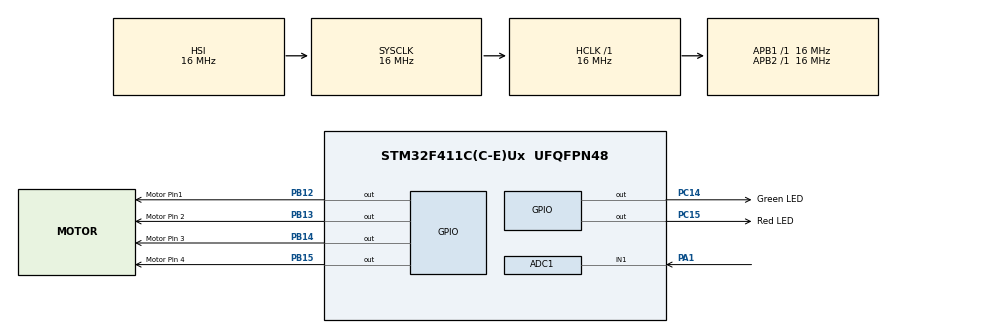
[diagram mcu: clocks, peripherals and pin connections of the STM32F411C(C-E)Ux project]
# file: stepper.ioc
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ADC1.Channel-2\#ChannelRegularConversion=ADC_CHANNEL_1
ADC1.ContinuousConvMode=DISABLE
ADC1.NbrOfConversionFlag=1
ADC1.Rank-2\#ChannelRegularConversion=1
ADC1.SamplingTime-2\#ChannelRegularConversion=ADC_SAMPLETIME_3CYCLES
ADC1.master=1
Mcu.Family=STM32F4
Mcu.Name=STM32F411C(C-E)Ux
Mcu.Package=UFQFPN48
NVIC.ADC_IRQn=true\:0\:0\:false\:false\:true\:true\:true
NVIC.PriorityGroup=NVIC_PRIORITYGROUP_4
NVIC.RCC_IRQn=true\:0\:0\:false\:false\:true\:true\:false
PA1.Signal=ADCx_IN1
PB12.GPIO_Label=Motor Pin1
PB12.GPIO_Speed=GPIO_SPEED_FREQ_HIGH
PB12.Signal=GPIO_Output
PB13.GPIO_Label=Motor Pin 2
PB13.GPIO_Speed=GPIO_SPEED_FREQ_HIGH
PB13.Signal=GPIO_Output
PB14.GPIO_Label=Motor Pin 3
PB14.GPIO_Speed=GPIO_SPEED_FREQ_HIGH
PB14.Signal=GPIO_Output
PB15.GPIO_Label=Motor Pin 4
PB15.GPIO_Speed=GPIO_SPEED_FREQ_HIGH
PB15.Signal=GPIO_Output
PC14-OSC32_IN.GPIO_Label=Green LED
PC14-OSC32_IN.Signal=GPIO_Output
PC15-OSC32_OUT.GPIO_Label=Red LED
PC15-OSC32_OUT.Signal=GPIO_Output
ProjectManager.HeapSize=0x200
ProjectManager.StackSize=0x400
ProjectManager.TargetToolchain=STM32CubeIDE
RCC.48MHZClocksFreq_Value=48000000
RCC.AHBFreq_Value=16000000
RCC.APB1Freq_Value=16000000
RCC.APB1TimFreq_Value=16000000
RCC.APB2Freq_Value=16000000
RCC.APB2TimFreq_Value=16000000
RCC.CortexFreq_Value=16000000
RCC.HCLKFreq_Value=16000000
RCC.HSE_VALUE=26000000
RCC.HSI_VALUE=16000000
RCC.LSE_VALUE=32768
RCC.SYSCLKFreq_VALUE=16000000
RCC.VCOOutputFreq_Value=192000000
SH.ADCx_IN1.0=ADC1_IN1,IN1
board=custom

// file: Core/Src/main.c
/* USER CODE BEGIN Header */
/**
  ******************************************************************************
  * @file           : main.c
  * @brief          : Main program body
  ******************************************************************************
  * @attention
  *
  * <h2><center>&copy; Copyright (c) 2020 STMicroelectronics.
  * All rights reserved.</center></h2>
  *
  * This software component is licensed by ST under BSD 3-Clause license,
  * the "License"; You may not use this file except in compliance with the
  * License. You may obtain a copy of the License at:
  *                        opensource.org/licenses/BSD-3-Clause
  *
  ******************************************************************************
  */
/* USER CODE END Header */
#include "main.h"

ADC_HandleTypeDef hadc1;

/* USER CODE BEGIN PV */
int motorSpeed = 0;
int motorPin1 = GPIO_PIN_12;
int motorPin2 = GPIO_PIN_13;
int motorPin3 = GPIO_PIN_14;
int motorPin4 = GPIO_PIN_15;

int lastPos = 0;
int tempPos;
int delta;

int flag = 0;
/* USER CODE END PV */

void SystemClock_Config(void);
static void MX_GPIO_Init(void);
static void MX_ADC1_Init(void);
/* USER CODE BEGIN PFP */
void clockvise(int steps);
void counterclockvise(int steps);
/* USER CODE END PFP */

int main(void)
{

  /* MCU Configuration--------------------------------------------------------*/

  /* Reset of all peripherals, Initializes the Flash interface and the Systick. */
  HAL_Init();

  /* USER CODE BEGIN Init */
  uint16_t raw;
  /* USER CODE END Init */

  /* Configure the system clock */
  SystemClock_Config();

  /* Initialize all configured peripherals */
  MX_GPIO_Init();
  MX_ADC1_Init();

  /* Infinite loop */
  /* USER CODE BEGIN WHILE */
  while (1)
  {

	  // Get ADC value
	  HAL_ADC_Start(&hadc1);
	  HAL_ADC_PollForConversion(&hadc1, HAL_MAX_DELAY);
	  raw = HAL_ADC_GetValue(&hadc1);
	  tempPos = raw;

	  if(flag){
		  if(raw < 2){
			  HAL_GPIO_WritePin(GPIOC, GPIO_PIN_14, GPIO_PIN_SET);
		  }
		  if(raw > 2 && raw < 4090){
			  HAL_GPIO_WritePin(GPIOC, GPIO_PIN_14, GPIO_PIN_RESET);
			  HAL_GPIO_WritePin(GPIOC, GPIO_PIN_15, GPIO_PIN_RESET);
		  }
		  if(raw > 4090){
			  HAL_GPIO_WritePin(GPIOC, GPIO_PIN_15, GPIO_PIN_SET);
		  }
	  }

	  HAL_Delay(1);

	  delta = tempPos - lastPos;
	  lastPos = tempPos;
	  if(delta > 5 || delta < -5){

		  flag = 1;

		  if(delta > 0){
		  	clockvise(delta);
		  }
		  if(delta < 0){
		  counterclockvise(delta * (-1));
		  }
	  }

    /* USER CODE END WHILE */

  }
}

void SystemClock_Config(void)
{
  RCC_OscInitTypeDef RCC_OscInitStruct = {0};
  RCC_ClkInitTypeDef RCC_ClkInitStruct = {0};

  /** Configure the main internal regulator output voltage
  */
  __HAL_RCC_PWR_CLK_ENABLE();
  __HAL_PWR_VOLTAGESCALING_CONFIG(PWR_REGULATOR_VOLTAGE_SCALE1);
  /** Initializes the RCC Oscillators according to the specified parameters
  * in the RCC_OscInitTypeDef structure.
  */
  RCC_OscInitStruct.OscillatorType = RCC_OSCILLATORTYPE_HSI;
  RCC_OscInitStruct.HSIState = RCC_HSI_ON;
  RCC_OscInitStruct.HSICalibrationValue = RCC_HSICALIBRATION_DEFAULT;
  RCC_OscInitStruct.PLL.PLLState = RCC_PLL_NONE;
  if (HAL_RCC_OscConfig(&RCC_OscInitStruct) != HAL_OK)
  {
    Error_Handler();
  }
  /** Initializes the CPU, AHB and APB buses clocks
  */
  RCC_ClkInitStruct.ClockType = RCC_CLOCKTYPE_HCLK|RCC_CLOCKTYPE_SYSCLK
                              |RCC_CLOCKTYPE_PCLK1|RCC_CLOCKTYPE_PCLK2;
  RCC_ClkInitStruct.SYSCLKSource = RCC_SYSCLKSOURCE_HSI;
  RCC_ClkInitStruct.AHBCLKDivider = RCC_SYSCLK_DIV1;
  RCC_ClkInitStruct.APB1CLKDivider = RCC_HCLK_DIV1;
  RCC_ClkInitStruct.APB2CLKDivider = RCC_HCLK_DIV1;

  if (HAL_RCC_ClockConfig(&RCC_ClkInitStruct, FLASH_LATENCY_0) != HAL_OK)
  {
    Error_Handler();
  }
}

static void MX_ADC1_Init(void)
{

  ADC_ChannelConfTypeDef sConfig = {0};

  /** Configure the global features of the ADC (Clock, Resolution, Data Alignment and number of conversion)
  */
  hadc1.Instance = ADC1;
  hadc1.Init.ClockPrescaler = ADC_CLOCK_SYNC_PCLK_DIV2;
  hadc1.Init.Resolution = ADC_RESOLUTION_12B;
  hadc1.Init.ScanConvMode = DISABLE;
  hadc1.Init.ContinuousConvMode = DISABLE;
  hadc1.Init.DiscontinuousConvMode = DISABLE;
  hadc1.Init.ExternalTrigConvEdge = ADC_EXTERNALTRIGCONVEDGE_NONE;
  hadc1.Init.ExternalTrigConv = ADC_SOFTWARE_START;
  hadc1.Init.DataAlign = ADC_DATAALIGN_RIGHT;
  hadc1.Init.NbrOfConversion = 1;
  hadc1.Init.DMAContinuousRequests = DISABLE;
  hadc1.Init.EOCSelection = ADC_EOC_SINGLE_CONV;
  if (HAL_ADC_Init(&hadc1) != HAL_OK)
  {
    Error_Handler();
  }
  /** Configure for the selected ADC regular channel its corresponding rank in the sequencer and its sample time.
  */
  sConfig.Channel = ADC_CHANNEL_1;
  sConfig.Rank = 1;
  sConfig.SamplingTime = ADC_SAMPLETIME_3CYCLES;
  if (HAL_ADC_ConfigChannel(&hadc1, &sConfig) != HAL_OK)
  {
    Error_Handler();
  }

}

static void MX_GPIO_Init(void)
{
  GPIO_InitTypeDef GPIO_InitStruct = {0};

  /* GPIO Ports Clock Enable */
  __HAL_RCC_GPIOC_CLK_ENABLE();
  __HAL_RCC_GPIOA_CLK_ENABLE();
  __HAL_RCC_GPIOB_CLK_ENABLE();

  /*Configure GPIO pin Output Level */
  HAL_GPIO_WritePin(GPIOC, Green_LED_Pin|Red_LED_Pin, GPIO_PIN_RESET);

  /*Configure GPIO pin Output Level */
  HAL_GPIO_WritePin(GPIOB, Motor_Pin1_Pin|Motor_Pin_2_Pin|Motor_Pin_3_Pin|Motor_Pin_4_Pin, GPIO_PIN_RESET);

  /*Configure GPIO pins : Green_LED_Pin Red_LED_Pin */
  GPIO_InitStruct.Pin = Green_LED_Pin|Red_LED_Pin;
  GPIO_InitStruct.Mode = GPIO_MODE_OUTPUT_PP;
  GPIO_InitStruct.Pull = GPIO_NOPULL;
  GPIO_InitStruct.Speed = GPIO_SPEED_FREQ_LOW;
  HAL_GPIO_Init(GPIOC, &GPIO_InitStruct);

  /*Configure GPIO pins : Motor_Pin1_Pin Motor_Pin_2_Pin Motor_Pin_3_Pin Motor_Pin_4_Pin */
  GPIO_InitStruct.Pin = Motor_Pin1_Pin|Motor_Pin_2_Pin|Motor_Pin_3_Pin|Motor_Pin_4_Pin;
  GPIO_InitStruct.Mode = GPIO_MODE_OUTPUT_PP;
  GPIO_InitStruct.Pull = GPIO_NOPULL;
  GPIO_InitStruct.Speed = GPIO_SPEED_FREQ_HIGH;
  HAL_GPIO_Init(GPIOB, &GPIO_InitStruct);

}

/* USER CODE BEGIN 4 */
void clockvise(int steps){
	while(steps){

		// 1
		HAL_GPIO_WritePin(GPIOB, motorPin4, GPIO_PIN_SET);
		HAL_GPIO_WritePin(GPIOB, motorPin3, GPIO_PIN_RESET);
		HAL_GPIO_WritePin(GPIOB, motorPin2, GPIO_PIN_RESET);
		HAL_GPIO_WritePin(GPIOB, motorPin1, GPIO_PIN_RESET);
		HAL_Delay(motorSpeed);

		steps--;
		if(steps == 0) break;
		// 2
		HAL_GPIO_WritePin(GPIOB, motorPin4, GPIO_PIN_SET);
		HAL_GPIO_WritePin(GPIOB, motorPin3, GPIO_PIN_SET);
		HAL_GPIO_WritePin(GPIOB, motorPin2, GPIO_PIN_RESET);
		HAL_GPIO_WritePin(GPIOB, motorPin1, GPIO_PIN_RESET);
		HAL_Delay(motorSpeed);

		steps--;
		if(steps == 0) break;
		// 3
		HAL_GPIO_WritePin(GPIOB, motorPin4, GPIO_PIN_RESET);
		HAL_GPIO_WritePin(GPIOB, motorPin3, GPIO_PIN_SET);
		HAL_GPIO_WritePin(GPIOB, motorPin2, GPIO_PIN_RESET);
		HAL_GPIO_WritePin(GPIOB, motorPin1, GPIO_PIN_RESET);
		HAL_Delay(motorSpeed);

		steps--;
		if(steps == 0) break;
		// 4
		HAL_GPIO_WritePin(GPIOB, motorPin4, GPIO_PIN_RESET);
		HAL_GPIO_WritePin(GPIOB, motorPin3, GPIO_PIN_SET);
		HAL_GPIO_WritePin(GPIOB, motorPin2, GPIO_PIN_SET);
		HAL_GPIO_WritePin(GPIOB, motorPin1, GPIO_PIN_RESET);
		HAL_Delay(motorSpeed);

		steps--;
		if(steps == 0) break;
		// 5
		HAL_GPIO_WritePin(GPIOB, motorPin4, GPIO_PIN_RESET);
		HAL_GPIO_WritePin(GPIOB, motorPin3, GPIO_PIN_RESET);
		HAL_GPIO_WritePin(GPIOB, motorPin2, GPIO_PIN_SET);
		HAL_GPIO_WritePin(GPIOB, motorPin1, GPIO_PIN_RESET);
		HAL_Delay(motorSpeed);

		steps--;
		if(steps == 0) break;
		// 5
		HAL_GPIO_WritePin(GPIOB, motorPin4, GPIO_PIN_RESET);
		HAL_GPIO_WritePin(GPIOB, motorPin3, GPIO_PIN_RESET);
		HAL_GPIO_WritePin(GPIOB, motorPin2, GPIO_PIN_SET);
		HAL_GPIO_WritePin(GPIOB, motorPin1, GPIO_PIN_RESET);
		HAL_Delay(motorSpeed);

		steps--;
		if(steps == 0) break;
		//6
		HAL_GPIO_WritePin(GPIOB, motorPin4, GPIO_PIN_RESET);
		HAL_GPIO_WritePin(GPIOB, motorPin3, GPIO_PIN_RESET);
		HAL_GPIO_WritePin(GPIOB, motorPin2, GPIO_PIN_SET);
		HAL_GPIO_WritePin(GPIOB, motorPin1, GPIO_PIN_SET);
		HAL_Delay(motorSpeed);

		steps--;
		if(steps == 0) break;
		//7
		HAL_GPIO_WritePin(GPIOB, motorPin4, GPIO_PIN_RESET);
		HAL_GPIO_WritePin(GPIOB, motorPin3, GPIO_PIN_RESET);
		HAL_GPIO_WritePin(GPIOB, motorPin2, GPIO_PIN_RESET);
		HAL_GPIO_WritePin(GPIOB, motorPin1, GPIO_PIN_SET);
		HAL_Delay(motorSpeed);

		steps--;
		if(steps == 0) break;
		//8
		HAL_GPIO_WritePin(GPIOB, motorPin4, GPIO_PIN_SET);
		HAL_GPIO_WritePin(GPIOB, motorPin3, GPIO_PIN_RESET);
		HAL_GPIO_WritePin(GPIOB, motorPin2, GPIO_PIN_RESET);
		HAL_GPIO_WritePin(GPIOB, motorPin1, GPIO_PIN_SET);
		HAL_Delay(motorSpeed);
	}

}

void counterclockvise(int steps){
	while(steps){

		// 1
		HAL_GPIO_WritePin(GPIOB, motorPin1, GPIO_PIN_SET);
		HAL_GPIO_WritePin(GPIOB, motorPin2, GPIO_PIN_RESET);
		HAL_GPIO_WritePin(GPIOB, motorPin3, GPIO_PIN_RESET);
		HAL_GPIO_WritePin(GPIOB, motorPin4, GPIO_PIN_RESET);
		HAL_Delay(motorSpeed);

		steps--;
		if(steps == 0) break;
		// 2
		HAL_GPIO_WritePin(GPIOB, motorPin1, GPIO_PIN_SET);
		HAL_GPIO_WritePin(GPIOB, motorPin2, GPIO_PIN_SET);
		HAL_GPIO_WritePin(GPIOB, motorPin3, GPIO_PIN_RESET);
		HAL_GPIO_WritePin(GPIOB, motorPin4, GPIO_PIN_RESET);
		HAL_Delay(motorSpeed);

		steps--;
		if(steps == 0) break;
		// 3
		HAL_GPIO_WritePin(GPIOB, motorPin1, GPIO_PIN_RESET);
		HAL_GPIO_WritePin(GPIOB, motorPin2, GPIO_PIN_SET);
		HAL_GPIO_WritePin(GPIOB, motorPin3, GPIO_PIN_RESET);
		HAL_GPIO_WritePin(GPIOB, motorPin4, GPIO_PIN_RESET);
		HAL_Delay(motorSpeed);

		steps--;
		if(steps == 0) break;
		// 4
		HAL_GPIO_WritePin(GPIOB, motorPin1, GPIO_PIN_RESET);
		HAL_GPIO_WritePin(GPIOB, motorPin2, GPIO_PIN_SET);
		HAL_GPIO_WritePin(GPIOB, motorPin3, GPIO_PIN_SET);
		HAL_GPIO_WritePin(GPIOB, motorPin4, GPIO_PIN_RESET);
		HAL_Delay(motorSpeed);

		steps--;
		if(steps == 0) break;
		// 5
		HAL_GPIO_WritePin(GPIOB, motorPin1, GPIO_PIN_RESET);
		HAL_GPIO_WritePin(GPIOB, motorPin2, GPIO_PIN_RESET);
		HAL_GPIO_WritePin(GPIOB, motorPin3, GPIO_PIN_SET);
		HAL_GPIO_WritePin(GPIOB, motorPin4, GPIO_PIN_RESET);
		HAL_Delay(motorSpeed);

		steps--;
		if(steps == 0) break;
		// 5
		HAL_GPIO_WritePin(GPIOB, motorPin1, GPIO_PIN_RESET);
		HAL_GPIO_WritePin(GPIOB, motorPin2, GPIO_PIN_RESET);
		HAL_GPIO_WritePin(GPIOB, motorPin3, GPIO_PIN_SET);
		HAL_GPIO_WritePin(GPIOB, motorPin4, GPIO_PIN_RESET);
		HAL_Delay(motorSpeed);

		steps--;
		if(steps == 0) break;
		//6
		HAL_GPIO_WritePin(GPIOB, motorPin1, GPIO_PIN_RESET);
		HAL_GPIO_WritePin(GPIOB, motorPin2, GPIO_PIN_RESET);
		HAL_GPIO_WritePin(GPIOB, motorPin3, GPIO_PIN_SET);
		HAL_GPIO_WritePin(GPIOB, motorPin4, GPIO_PIN_SET);
		HAL_Delay(motorSpeed);

		steps--;
		if(steps == 0) break;
		//7
		HAL_GPIO_WritePin(GPIOB, motorPin1, GPIO_PIN_RESET);
		HAL_GPIO_WritePin(GPIOB, motorPin2, GPIO_PIN_RESET);
		HAL_GPIO_WritePin(GPIOB, motorPin3, GPIO_PIN_RESET);
		HAL_GPIO_WritePin(GPIOB, motorPin4, GPIO_PIN_SET);
		HAL_Delay(motorSpeed);

		steps--;
		if(steps == 0) break;
		//8
		HAL_GPIO_WritePin(GPIOB, motorPin1, GPIO_PIN_SET);
		HAL_GPIO_WritePin(GPIOB, motorPin2, GPIO_PIN_RESET);
		HAL_GPIO_WritePin(GPIOB, motorPin3, GPIO_PIN_RESET);
		HAL_GPIO_WritePin(GPIOB, motorPin4, GPIO_PIN_SET);
		HAL_Delay(motorSpeed);
	}
}
/* USER CODE END 4 */

void Error_Handler(void)
{
}

/************************ (C) COPYRIGHT STMicroelectronics *****END OF FILE****/
